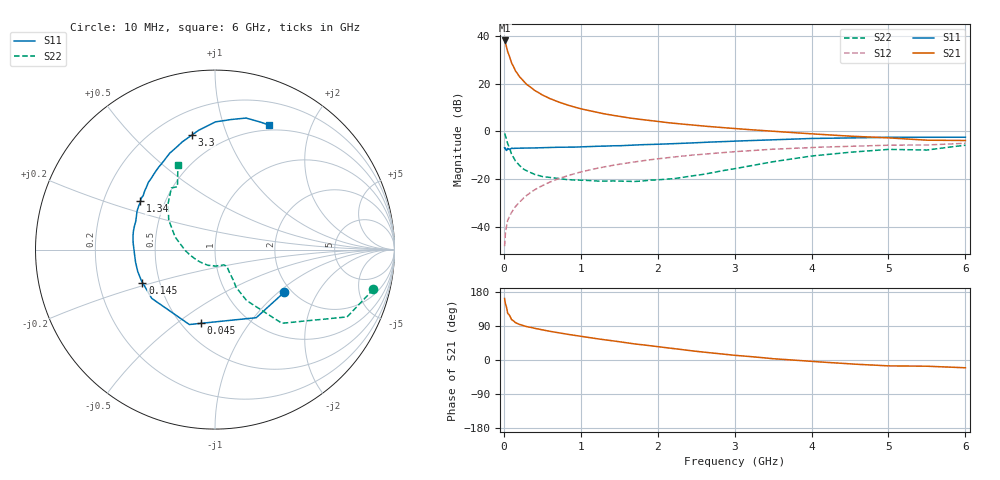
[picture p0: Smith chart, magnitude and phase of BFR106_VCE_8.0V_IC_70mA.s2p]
! Infineon Technologies  Discrete & RF Semiconductors
! BFR106
! VCE =  8.0 V,  IC =  70 mA
! Common Emitter S-Parameters:  Nov 2015
# GHz  S  MA  R  50
!  f  S11  S21  S12  S22
! GHz  MAG  ANG  MAG  ANG  MAG  ANG  MAG  ANG
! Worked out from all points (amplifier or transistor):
!   210 points, 10 MHz to 6 GHz, reference 50 ohm
!   highest |S21| = 38.0 dB at 10 MHz (marker M1)
!   |S21| within 3 dB of that: start of sweep to 36.39 MHz
!   unconditionally stable (mu >= 1): 228 MHz to 2.352 GHz
!   at 185 MHz: K = 0.95, MSG = 27.0 dB, |S12| = -30.2 dB
!   at 1.52 GHz: K = 1.06, MAG = 8.5 dB, |S12| = -13.6 dB
!   at 6 GHz: K = 0.98, MSG = 0.6 dB, |S12| = -5.0 dB
!   S11 on the Smith chart (normalised r, x): 10 MHz: 1.83, -1.10; 45 MHz: 0.62, -0.62; 145 MHz: 0.40, -0.18; 1.34 GHz: 0.36, +0.26; 3.3 GHz: 0.34, +0.76; 6 GHz: 0.44, +1.43
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0.01  0.4532 -31.6  79.47 162.4  0.004 79.5  0.9098 -14.1
0.02  0.4435 -58.8  71.3 148.8  0.0073 69.1  0.8261 -27.0
0.045  0.4189 -101.1  49.6 129.3  0.0127 62.4  0.5924 -43.1
0.05  0.4412 -108.9  46.32 123.4  0.0138 61.7  0.554 -47.8
0.1  0.445 -142.3  26.98 106.7  0.0202 61.1  0.3331 -58.2
0.145  0.4438 -155.6  19.36 99.7  0.026 65.7  0.2509 -60.4
0.15  0.4451 -157.1  18.54 98.6  0.0267 66.1  0.2418 -60.7
0.2  0.4474 -164.2  14.15 94.1  0.0329 68.2  0.1966 -59.1
0.24  0.4477 -169.0  11.91 91.3  0.0383 69.2  0.1708 -58.5
0.3  0.4484 -173.8  9.5 87.9  0.0464 71.4  0.1492 -57.8
0.4  0.4514 179.9  7.198 83.5  0.0601 72.2  0.1263 -55.7
0.5  0.4579 175.2  5.774 79.4  0.0734 72.4  0.1142 -54.7
0.6  0.4629 170.8  4.843 75.6  0.0874 72.0  0.1091 -55.6
0.8  0.4676 164.2  3.663 68.7  0.1144 70.1  0.099 -59.8
1.02  0.4773 156.2  2.919 61.9  0.1444 67.6  0.0957 -66.3
1.34  0.495 147.0  2.277 52.6  0.1857 63.5  0.0916 -80.1
2.02  0.5403 129.2  1.596 34.5  0.2696 54.1  0.0977 -122.4
3.1  0.6345 105.0  1.117 10.8  0.3862 38.2  0.1777 176.7
3.3  0.6513 101.4  1.059 7.3  0.4049 35.2  0.2036 168.7
4.1  0.7146 88.4  0.87 -5.0  0.4675 23.5  0.3169 144.6
5.1  0.7526 75.4  0.717 -15.7  0.5158 10.8  0.418 124.4
6  0.7563 66.4  0.646 -20.5  0.5646 0.9  0.5144 113.7
